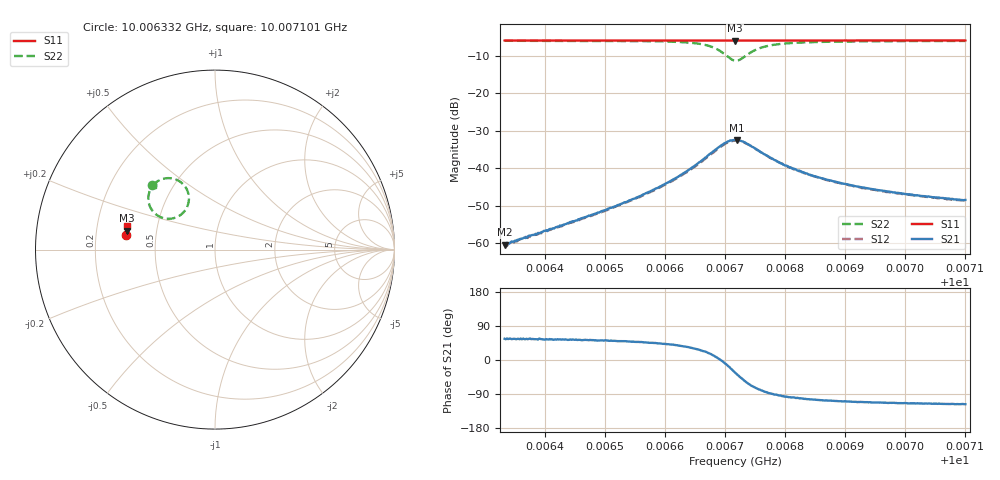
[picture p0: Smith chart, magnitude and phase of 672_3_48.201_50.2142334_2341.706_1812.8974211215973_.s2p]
#  HZ  S  RI  R  50.00
! Rohde & Schwarz Vector Network Analyzer
! Rohde-Schwarz,ZNB20-2Port,1311601062101988,3.16
! Created: UTC 3/20/2024, 12:06:11 PM
! freq[Hz]  re:S11  im:S11  re:S21  im:S21  re:S12  im:S12  re:S22  im:S22
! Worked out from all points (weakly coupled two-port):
!   401 points, 10.006332 GHz to 10.007101 GHz, reference 50 ohm
!   highest |S21| = -32.49 dB at 10.00672 GHz (marker M1); lowest = -60.5 dB at 10.006332 GHz (marker M2)
!   lowest |S11| = -6.0 dB at 10.006717 GHz (marker M3), VSWR 3.02, Z = 16.7 + j4.72 ohm
!   |S11| at or under -10 dB: nowhere
!   |S22| runs from -11.3 to -6.0 dB; largest |S21 - S12| = 0.002
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1.00063321e10  -0.4974 0.0814  0.000529 0.000788  0.000507 0.000802  -0.3483 0.3588
1.00064609e10  -0.496 0.09  0.00131 0.0017  0.00117 0.00175  -0.3334 0.3716
1.00065378e10  -0.4954 0.0951  0.00236 0.00272  0.00219 0.0028  -0.3175 0.3824
1.00065897e10  -0.4946 0.0985  0.00401 0.00388  0.00371 0.004  -0.2973 0.3917
1.0006632e10  -0.4939 0.1014  0.00705 0.00507  0.00658 0.00534  -0.2647 0.3982
1.0006655e10  -0.4932 0.103  0.0103 0.00542  0.00966 0.00581  -0.2328 0.3952
1.00066723e10  -0.4926 0.1042  0.0142 0.00468  0.0134 0.00523  -0.1983 0.3809
1.00066858e10  -0.4919 0.1048  0.0179 0.00228  0.0173 0.00336  -0.1671 0.3518
1.00066993e10  -0.4913 0.1053  0.0213 -0.00294  0.0209 -0.0015  -0.1459 0.2972
1.00067089e10  -0.491 0.1054  0.0218 -0.00863  0.0217 -0.0066  -0.1521 0.2456
1.00067166e10  -0.4909 0.1054  0.0198 -0.0129  0.0204 -0.0112  -0.1757 0.2073
1.00067204e10  -0.4911 0.1054  0.0186 -0.0148  0.0193 -0.013  -0.1928 0.1924
1.00067358e10  -0.4917 0.1057  0.0109 -0.0183  0.0122 -0.0173  -0.2706 0.1722
1.00067492e10  -0.492 0.1067  0.00563 -0.0176  0.00684 -0.0171  -0.3209 0.1905
1.00067646e10  -0.4921 0.1078  0.00194 -0.0153  0.0029 -0.0152  -0.3515 0.2206
1.00068011e10  -0.4923 0.1105  -0.0013 -0.0107  -0.000642 -0.0108  -0.3709 0.2739
1.00068453e10  -0.4918 0.1134  -0.00194 -0.00775  -0.00156 -0.00775  -0.3692 0.3068
1.00068799e10  -0.4915 0.1159  -0.00203 -0.00638  -0.00172 -0.00639  -0.3654 0.3217
1.00069145e10  -0.4909 0.1181  -0.00202 -0.00547  -0.00167 -0.00546  -0.3612 0.3321
1.00069741e10  -0.4902 0.1219  -0.0019 -0.00445  -0.00162 -0.00449  -0.3549 0.3439
1.0007028e10  -0.4893 0.1256  -0.00177 -0.00386  -0.00157 -0.00393  -0.3502 0.3518
1.0007101e10  -0.4883 0.1302  -0.00169 -0.00336  -0.00148 -0.00337  -0.3444 0.3598
